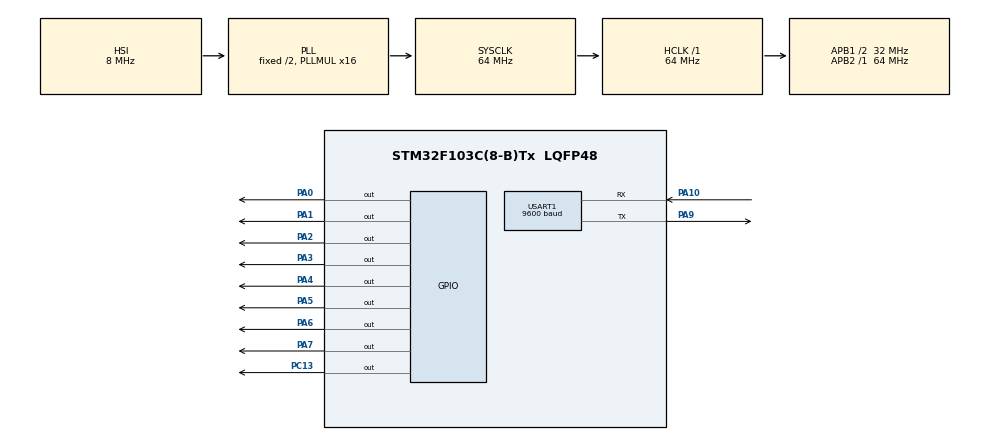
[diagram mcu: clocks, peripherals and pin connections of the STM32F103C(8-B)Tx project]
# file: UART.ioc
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Mcu.Family=STM32F1
Mcu.Name=STM32F103C(8-B)Tx
Mcu.Package=LQFP48
NVIC.PriorityGroup=NVIC_PRIORITYGROUP_4
NVIC.USART1_IRQn=true\:1\:0\:true\:false\:true\:true\:true
PA0-WKUP.Signal=GPIO_Output
PA1.Signal=GPIO_Output
PA10.Mode=Asynchronous
PA10.Signal=USART1_RX
PA13.Mode=Serial_Wire
PA13.Signal=SYS_JTMS-SWDIO
PA14.Mode=Serial_Wire
PA14.Signal=SYS_JTCK-SWCLK
PA2.Signal=GPIO_Output
PA3.Signal=GPIO_Output
PA4.Signal=GPIO_Output
PA5.Signal=GPIO_Output
PA6.Signal=GPIO_Output
PA7.Signal=GPIO_Output
PA9.Mode=Asynchronous
PA9.Signal=USART1_TX
PC13-TAMPER-RTC.Signal=GPIO_Output
ProjectManager.HeapSize=0x200
ProjectManager.StackSize=0x400
ProjectManager.TargetToolchain=MDK-ARM V5.32
RCC.AHBFreq_Value=64000000
RCC.APB1CLKDivider=RCC_HCLK_DIV2
RCC.APB1Freq_Value=32000000
RCC.APB1TimFreq_Value=64000000
RCC.APB2Freq_Value=64000000
RCC.APB2TimFreq_Value=64000000
RCC.HCLKFreq_Value=64000000
RCC.PLLMUL=RCC_PLL_MUL16
RCC.SYSCLKFreq_VALUE=64000000
RCC.SYSCLKSource=RCC_SYSCLKSOURCE_PLLCLK
RCC.USBFreq_Value=64000000
USART1.BaudRate=9600
USART1.VirtualMode=VM_ASYNC
board=custom

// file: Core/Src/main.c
/* USER CODE BEGIN Header */
/**
  ******************************************************************************
  * @file           : main.c
  * @brief          : Main program body
  ******************************************************************************
  * @attention
  *
  * <h2><center>&copy; Copyright (c) 2021 STMicroelectronics.
  * All rights reserved.</center></h2>
  *
  * This software component is licensed by ST under BSD 3-Clause license,
  * the "License"; You may not use this file except in compliance with the
  * License. You may obtain a copy of the License at:
  *                        opensource.org/licenses/BSD-3-Clause
  *
  ******************************************************************************
  */
/* USER CODE END Header */
#include "main.h"

/* USER CODE BEGIN Includes */
#include <string.h>
/* USER CODE END Includes */

UART_HandleTypeDef huart1;

void SystemClock_Config(void);
static void MX_GPIO_Init(void);
static void MX_USART1_UART_Init(void);

/* USER CODE BEGIN 0 */
//char // 0->255
uint8_t data_rx;
uint8_t flag_uart = 0;
void HAL_UART_RxCpltCallback(UART_HandleTypeDef *huart)
{
	if(huart->Instance == huart1.Instance)
	{
		flag_uart = 1;
		HAL_UART_Receive_IT(&huart1,&data_rx,1);
	}
}
//led: 0->7
//sta: 0,1
void set_led(uint8_t led, uint8_t sta)
{
	if(led <8)
	{
		HAL_GPIO_WritePin(GPIOA, GPIO_PIN_0 << led, sta);
	}
	else
	{
		HAL_GPIO_WritePin(GPIOB, GPIO_PIN_0 << led, sta);
	}
}
/* USER CODE END 0 */

int main(void)
{

  /* MCU Configuration--------------------------------------------------------*/

  /* Reset of all peripherals, Initializes the Flash interface and the Systick. */
  HAL_Init();

  /* Configure the system clock */
  SystemClock_Config();

  /* Initialize all configured peripherals */
  MX_GPIO_Init();
  MX_USART1_UART_Init();
  /* USER CODE BEGIN 2 */
	HAL_UART_Receive_IT(&huart1,&data_rx,1);
  /* USER CODE END 2 */

  /* Infinite loop */
  while (1)
  {

    /* USER CODE BEGIN 3 */
		if(flag_uart)
		{
			//'1' -> '8'
			//set_led(0->7, 1);
			//'A' -> 'H'
			//set_led(0->7, 0);
			if(data_rx >= '1' && data_rx <= '7')
			{
				//'1' -> 0
				// '2' -> 1
				set_led((data_rx - '1'), 1);
			}
			else if(data_rx >= 'A' && data_rx <= 'H')
			{
				set_led((data_rx - 'A'), 0);
			}
			flag_uart = 0;
		}
  }
  /* USER CODE END 3 */
}

void SystemClock_Config(void)
{
  RCC_OscInitTypeDef RCC_OscInitStruct = {0};
  RCC_ClkInitTypeDef RCC_ClkInitStruct = {0};

  /** Initializes the RCC Oscillators according to the specified parameters
  * in the RCC_OscInitTypeDef structure.
  */
  RCC_OscInitStruct.OscillatorType = RCC_OSCILLATORTYPE_HSI;
  RCC_OscInitStruct.HSIState = RCC_HSI_ON;
  RCC_OscInitStruct.HSICalibrationValue = RCC_HSICALIBRATION_DEFAULT;
  RCC_OscInitStruct.PLL.PLLState = RCC_PLL_ON;
  RCC_OscInitStruct.PLL.PLLSource = RCC_PLLSOURCE_HSI_DIV2;
  RCC_OscInitStruct.PLL.PLLMUL = RCC_PLL_MUL16;
  if (HAL_RCC_OscConfig(&RCC_OscInitStruct) != HAL_OK)
  {
    Error_Handler();
  }
  /** Initializes the CPU, AHB and APB buses clocks
  */
  RCC_ClkInitStruct.ClockType = RCC_CLOCKTYPE_HCLK|RCC_CLOCKTYPE_SYSCLK
                              |RCC_CLOCKTYPE_PCLK1|RCC_CLOCKTYPE_PCLK2;
  RCC_ClkInitStruct.SYSCLKSource = RCC_SYSCLKSOURCE_PLLCLK;
  RCC_ClkInitStruct.AHBCLKDivider = RCC_SYSCLK_DIV1;
  RCC_ClkInitStruct.APB1CLKDivider = RCC_HCLK_DIV2;
  RCC_ClkInitStruct.APB2CLKDivider = RCC_HCLK_DIV1;

  if (HAL_RCC_ClockConfig(&RCC_ClkInitStruct, FLASH_LATENCY_2) != HAL_OK)
  {
    Error_Handler();
  }
}

static void MX_USART1_UART_Init(void)
{

  huart1.Instance = USART1;
  huart1.Init.BaudRate = 9600;
  huart1.Init.WordLength = UART_WORDLENGTH_8B;
  huart1.Init.StopBits = UART_STOPBITS_1;
  huart1.Init.Parity = UART_PARITY_NONE;
  huart1.Init.Mode = UART_MODE_TX_RX;
  huart1.Init.HwFlowCtl = UART_HWCONTROL_NONE;
  huart1.Init.OverSampling = UART_OVERSAMPLING_16;
  if (HAL_UART_Init(&huart1) != HAL_OK)
  {
    Error_Handler();
  }

}

static void MX_GPIO_Init(void)
{
  GPIO_InitTypeDef GPIO_InitStruct = {0};

  /* GPIO Ports Clock Enable */
  __HAL_RCC_GPIOC_CLK_ENABLE();
  __HAL_RCC_GPIOA_CLK_ENABLE();

  /*Configure GPIO pin Output Level */
  HAL_GPIO_WritePin(GPIOC, GPIO_PIN_13, GPIO_PIN_RESET);

  /*Configure GPIO pin Output Level */
  HAL_GPIO_WritePin(GPIOA, GPIO_PIN_0|GPIO_PIN_1|GPIO_PIN_2|GPIO_PIN_3
                          |GPIO_PIN_4|GPIO_PIN_5|GPIO_PIN_6|GPIO_PIN_7, GPIO_PIN_RESET);

  /*Configure GPIO pin : PC13 */
  GPIO_InitStruct.Pin = GPIO_PIN_13;
  GPIO_InitStruct.Mode = GPIO_MODE_OUTPUT_PP;
  GPIO_InitStruct.Pull = GPIO_NOPULL;
  GPIO_InitStruct.Speed = GPIO_SPEED_FREQ_LOW;
  HAL_GPIO_Init(GPIOC, &GPIO_InitStruct);

  /*Configure GPIO pins : PA0 PA1 PA2 PA3
                           PA4 PA5 PA6 PA7 */
  GPIO_InitStruct.Pin = GPIO_PIN_0|GPIO_PIN_1|GPIO_PIN_2|GPIO_PIN_3
                          |GPIO_PIN_4|GPIO_PIN_5|GPIO_PIN_6|GPIO_PIN_7;
  GPIO_InitStruct.Mode = GPIO_MODE_OUTPUT_PP;
  GPIO_InitStruct.Pull = GPIO_NOPULL;
  GPIO_InitStruct.Speed = GPIO_SPEED_FREQ_LOW;
  HAL_GPIO_Init(GPIOA, &GPIO_InitStruct);

}

void Error_Handler(void)
{
  __disable_irq();
  while (1)
  {
  }
}

/************************ (C) COPYRIGHT STMicroelectronics *****END OF FILE****/
